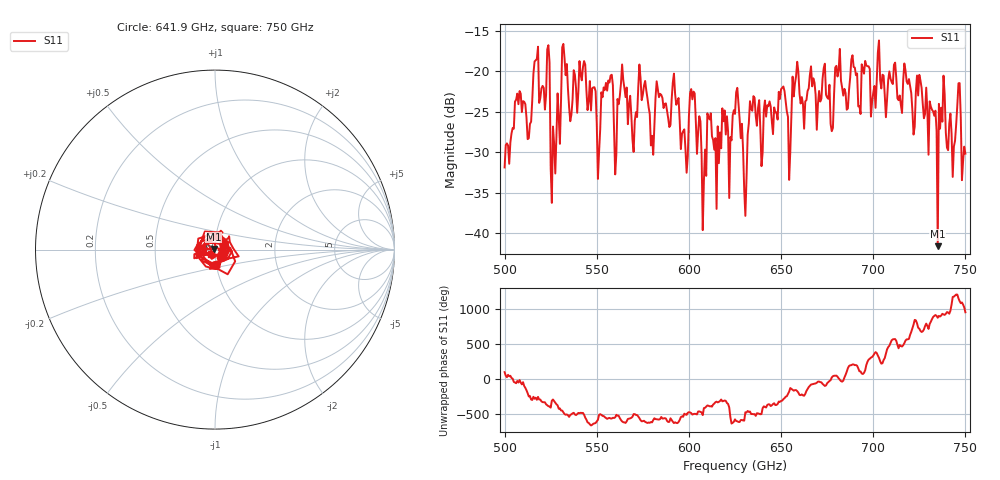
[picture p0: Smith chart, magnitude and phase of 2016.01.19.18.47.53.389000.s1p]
!Created with skrf (http://scikit-rf.org).
# GHz S RI R 50.0
!freq ReS11 ImS11
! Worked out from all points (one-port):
!   401 points, 500 GHz to 750 GHz, reference 50 ohm
!   lowest |S11| = -41.6 dB at 735 GHz (marker M1), VSWR 1.02, Z = 49.3 + j0.406 ohm
!   |S11| at or under -10 dB: start of sweep to end of sweep
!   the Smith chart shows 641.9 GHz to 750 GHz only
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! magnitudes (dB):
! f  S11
! 500 GHz  -31.9
! 507.5 GHz  -24.1
! 513.8 GHz  -26.5
! 516.9 GHz  -18.7
! 523.1 GHz  -17.3
! 526.2 GHz  -26.8
! 531.2 GHz  -17.1
! 542.5 GHz  -19.5
! 550.6 GHz  -33.3
! 562.5 GHz  -23.1
! 574.4 GHz  -23.6
! 580 GHz  -28.0
! 583.1 GHz  -22.3
! 593.8 GHz  -23.8
! 598.1 GHz  -29.7
! 601.9 GHz  -23.5
! 608.1 GHz  -33.6
! 611.2 GHz  -26.0
! 616.2 GHz  -31.3
! 625 GHz  -25.3
! 630.6 GHz  -37.8
! 634.4 GHz  -24.9
! 656.2 GHz  -20.7
! 687.5 GHz  -20.8
! 718.8 GHz  -21.6
! 735 GHz  -41.6
! 746.2 GHz  -21.5
! 750 GHz  -30.2
